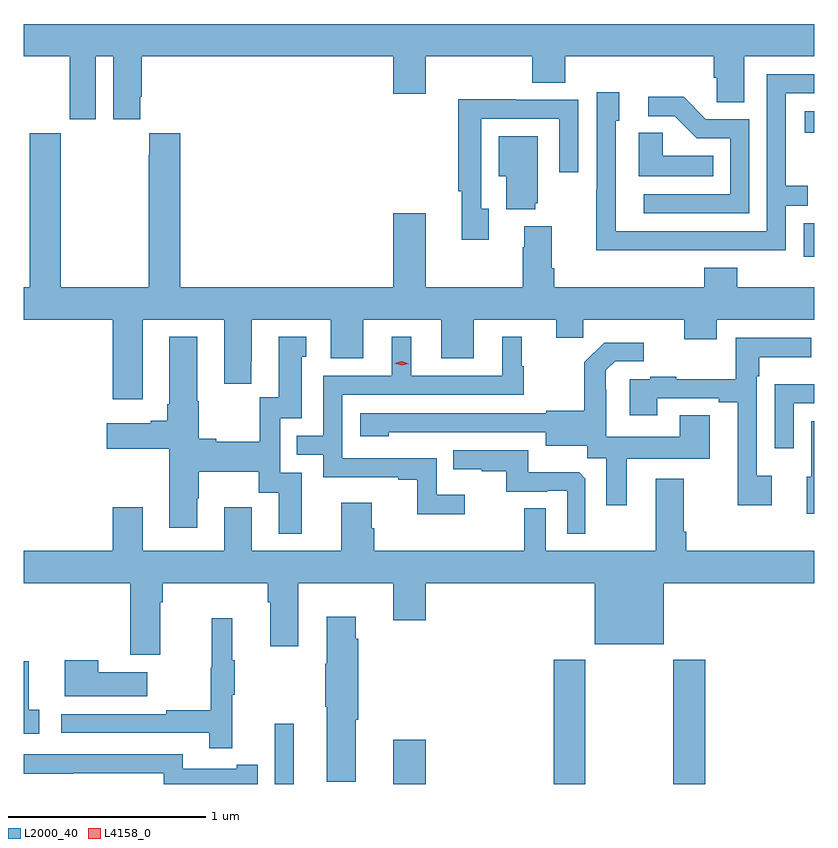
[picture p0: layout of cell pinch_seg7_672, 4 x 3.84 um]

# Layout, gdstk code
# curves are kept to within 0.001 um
import gdstk
lib = gdstk.Library(unit=1e-6, precision=1e-09)
def R(c, l, rs):  # rectangles x0, y0, x1, y1
    for r in rs: c.add(gdstk.rectangle(r[:2], r[2:], *l))
def P(c, l, *ps):  # polygons
    for p in ps: c.add(gdstk.Polygon(p, *l))
L2000_40 = (2000, 40)
L4158_0 = (4158, 0)

pinch_seg7_672 = lib.new_cell('pinch_seg7_672')
R(pinch_seg7_672, L2000_40, [(260.313,1028.904,260.41,1029.208), (260.912,1028.904,261.076,1029.127), (261.725,1028.904,261.885,1029.532), (262.33,1028.904,262.49,1029.532), (262.989,1031.571,263.043,1031.739), (262.995,1032.197,263.043,1032.307)])
P(pinch_seg7_672, L2000_40, [(259.408,1032.584),(259.496,1032.584),(259.496,1032.267),(259.633,1032.267),(259.633,1032.379),(259.64,1032.379),(259.64,1032.584),(260.912,1032.584),(260.912,1032.396),(261.076,1032.396),(261.076,1032.584),(261.617,1032.584),(261.617,1032.451),(261.782,1032.451),(261.782,1032.584),(262.535,1032.584),(262.535,1032.475),(262.548,1032.475),(262.548,1032.352),(262.687,1032.352),(262.687,1032.584),(263.043,1032.584),(263.043,1032.748),(259.043,1032.748),(259.043,1032.584),(259.277,1032.584),(259.277,1032.267),(259.408,1032.267)],
  [(262.403,1031.604),(262.899,1031.604),(262.899,1031.829),(263.009,1031.829),(263.009,1031.93),(262.899,1031.93),(262.899,1032.399),(263.043,1032.399),(263.043,1032.495),(262.803,1032.495),(262.803,1031.7),(262.038,1031.7),(262.038,1032.258),(262.057,1032.258),(262.057,1032.403),(261.942,1032.403),(261.942,1031.909),(261.94,1031.909),(261.94,1031.603),(262.403,1031.603)],
  [(262.713,1032.267),(262.494,1032.267),(262.381,1032.38),(262.203,1032.38),(262.203,1032.282),(262.337,1032.282),(262.448,1032.171),(262.617,1032.171),(262.617,1031.886),(262.179,1031.886),(262.179,1031.79),(262.713,1031.79)],
  [(261.397,1031.814),(261.357,1031.814),(261.357,1032.27),(261.753,1032.27),(261.753,1031.997),(261.849,1031.997),(261.849,1032.366),(261.533,1032.366),(261.533,1032.368),(261.241,1032.368),(261.241,1031.902),(261.26,1031.902),(261.26,1031.658),(261.397,1031.658)],
  [(262.532,1032.082),(262.275,1032.082),(262.275,1032.197),(262.154,1032.197),(262.154,1031.978),(262.532,1031.978)],
  [(261.737,1031.162),(261.875,1031.162),(261.875,1031.252),(262.385,1031.252),(262.385,1031.153),(262.549,1031.153),(262.549,1031.252),(263.043,1031.252),(263.043,1031.416),(262.652,1031.416),(262.652,1031.515),(262.487,1031.515),(262.487,1031.416),(261.728,1031.416),(261.728,1031.512),(261.715,1031.512),(261.715,1031.725),(261.575,1031.725),(261.575,1031.618),(261.568,1031.618),(261.568,1031.416),(261.076,1031.416),(261.076,1031.791),(260.912,1031.791),(260.912,1031.416),(259.835,1031.416),(259.835,1032.196),(259.679,1032.196),(259.679,1032.083),(259.675,1032.083),(259.675,1031.416),(259.23,1031.416),(259.23,1032.196),(259.075,1032.196),(259.075,1031.416),(259.043,1031.416),(259.043,1031.252),(259.493,1031.252),(259.493,1030.851),(259.645,1030.851),(259.645,1031.252),(260.057,1031.252),(260.057,1030.929),(260.194,1030.929),(260.194,1031.041),(260.197,1031.041),(260.197,1031.252),(260.597,1031.252),(260.597,1031.058),(260.761,1031.058),(260.761,1031.252),(261.155,1031.252),(261.155,1031.058),(261.319,1031.058),(261.319,1031.252),(261.737,1031.252)],
  [(261.632,1031.841),(261.643,1031.841),(261.643,1032.181),(261.446,1032.181),(261.446,1031.978),(261.485,1031.978),(261.485,1031.81),(261.632,1031.81)],
  [(261.274,1030.366),(261.132,1030.366),(261.132,1030.551),(260.655,1030.551),(260.655,1030.872),(261.574,1030.872),(261.574,1031.016),(261.562,1031.016),(261.562,1031.167),(261.464,1031.167),(261.464,1030.968),(261.004,1030.968),(261.004,1031.167),(260.906,1031.167),(260.906,1030.968),(260.559,1030.968),(260.559,1030.665),(260.425,1030.665),(260.425,1030.569),(260.559,1030.569),(260.559,1030.455),(260.939,1030.455),(260.939,1030.443),(261.034,1030.443),(261.034,1030.268),(261.274,1030.268)],
  [(260.449,1030.479),(260.34,1030.479),(260.34,1030.755),(260.449,1030.755),(260.449,1031.064),(260.473,1031.064),(260.473,1031.167),(260.333,1031.167),(260.333,1030.86),(260.237,1030.86),(260.237,1030.636),(260.017,1030.636),(260.017,1030.649),(259.929,1030.649),(259.929,1030.841),(259.921,1030.841),(259.921,1031.167),(259.781,1031.167),(259.781,1030.825),(259.769,1030.825),(259.769,1030.742),(259.685,1030.742),(259.685,1030.729),(259.464,1030.729),(259.464,1030.6),(259.781,1030.6),(259.781,1030.2),(259.921,1030.2),(259.921,1030.35),(259.929,1030.35),(259.929,1030.484),(260.232,1030.484),(260.232,1030.378),(260.333,1030.378),(260.333,1030.17),(260.449,1030.17)],
  [(262.828,1030.462),(262.752,1030.462),(262.752,1030.967),(262.765,1030.967),(262.765,1031.063),(263.026,1031.063),(263.026,1031.16),(262.644,1031.16),(262.644,1030.952),(262.345,1030.952),(262.345,1030.963),(262.213,1030.963),(262.213,1030.95),(262.109,1030.95),(262.109,1030.77),(262.249,1030.77),(262.249,1030.854),(262.559,1030.854),(262.559,1030.836),(262.655,1030.836),(262.655,1030.314),(262.828,1030.314)],
  [(262.093,1030.55),(262.513,1030.55),(262.513,1030.769),(262.361,1030.769),(262.361,1030.66),(261.99,1030.66),(261.99,1030.901),(261.988,1030.901),(261.988,1030.996),(262.035,1031.043),(262.18,1031.043),(262.18,1031.137),(261.979,1031.137),(261.879,1031.037),(261.879,1030.792),(261.687,1030.792),(261.687,1030.779),(260.745,1030.779),(260.745,1030.664),(260.889,1030.664),(260.889,1030.682),(261.683,1030.683),(261.683,1030.616),(261.894,1030.616),(261.894,1030.552),(261.989,1030.552),(261.989,1030.314),(262.093,1030.314)],
  [(262.938,1030.83),(263.043,1030.83),(263.043,1030.927),(262.842,1030.927),(262.842,1030.602),(262.938,1030.602)],
  [(263.043,1030.74),(263.028,1030.74),(263.028,1030.458),(263.003,1030.458),(263.003,1030.271),(263.043,1030.271)],
  [(261.885,1030.449),(261.853,1030.481),(261.595,1030.481),(261.595,1030.593),(261.217,1030.593),(261.217,1030.496),(261.361,1030.496),(261.361,1030.485),(261.485,1030.485),(261.485,1030.383),(261.692,1030.383),(261.692,1030.386),(261.792,1030.386),(261.792,1030.169),(261.885,1030.169)],
  [(259.735,1029.824),(259.748,1029.824),(259.748,1029.92),(260.279,1029.92),(260.279,1029.824),(260.291,1029.824),(260.291,1029.6),(260.431,1029.6),(260.431,1029.92),(260.912,1029.92),(260.912,1029.732),(261.076,1029.732),(261.076,1029.92),(261.932,1029.92),(261.932,1029.611),(262.282,1029.611),(262.282,1029.92),(263.043,1029.92),(263.043,1030.084),(262.394,1030.084),(262.394,1030.18),(262.381,1030.18),(262.381,1030.447),(262.241,1030.447),(262.241,1030.084),(261.684,1030.084),(261.684,1030.298),(261.576,1030.298),(261.576,1030.084),(260.816,1030.084),(260.816,1030.197),(260.803,1030.197),(260.803,1030.327),(260.651,1030.327),(260.651,1030.084),(260.197,1030.084),(260.197,1030.303),(260.057,1030.303),(260.057,1030.084),(259.645,1030.084),(259.645,1030.303),(259.493,1030.303),(259.493,1030.084),(259.043,1030.084),(259.043,1029.92),(259.583,1029.92),(259.583,1029.558),(259.735,1029.558)],
  [(260.722,1029.228),(260.735,1029.228),(260.735,1029.638),(260.722,1029.638),(260.722,1029.751),(260.576,1029.751),(260.576,1029.512),(260.569,1029.512),(260.569,1029.295),(260.576,1029.295),(260.576,1028.916),(260.722,1028.916)],
  [(260.099,1029.355),(260.11,1029.355),(260.11,1029.529),(260.099,1029.529),(260.099,1029.742),(259.996,1029.742),(259.996,1029.492),(259.989,1029.492),(259.989,1029.278),(259.765,1029.278),(259.765,1029.258),(259.233,1029.258),(259.233,1029.162),(259.981,1029.162),(259.981,1029.084),(260.099,1029.084)],
  [(259.669,1029.469),(259.421,1029.469),(259.421,1029.529),(259.25,1029.529),(259.25,1029.347),(259.669,1029.347)],
  [(259.123,1029.279),(259.07,1029.279),(259.07,1029.526),(259.043,1029.526),(259.043,1029.159),(259.123,1029.159)],
  [(260.228,1029.002),(260.12,1029.002),(260.12,1028.982),(259.848,1028.982),(259.848,1029.054),(259.043,1029.054),(259.043,1028.957),(259.292,1028.957),(259.292,1028.958),(259.752,1028.958),(259.752,1028.904),(260.228,1028.904)])
P(pinch_seg7_672, L4158_0, [(260.955,1031.021),(260.919,1031.031),(260.919,1031.032),(260.919,1031.032),(260.955,1031.041),(260.991,1031.03),(260.991,1031.03),(260.991,1031.03)])

lib.write_gds('pinch_seg7_672.gds')
